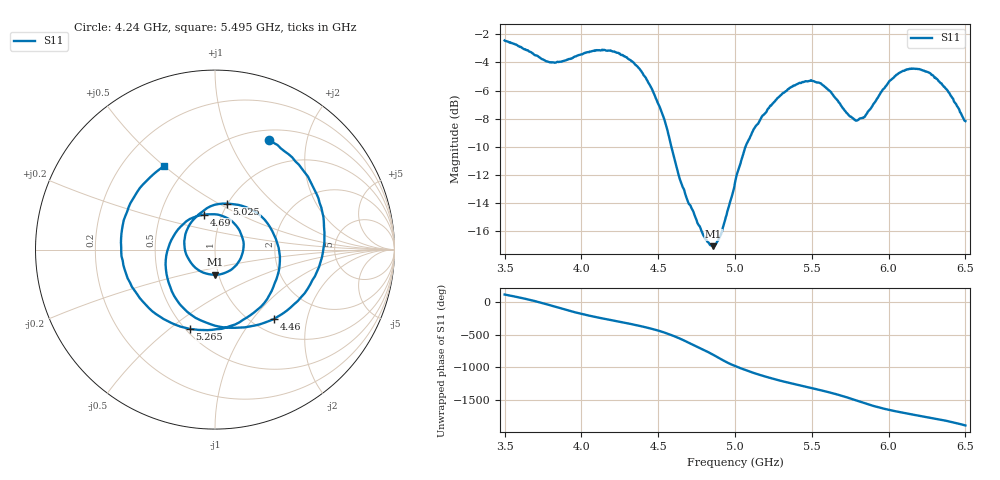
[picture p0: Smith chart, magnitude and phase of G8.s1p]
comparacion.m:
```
% Load data from the file
s = importdata('G8.s1p');

% Extract S11 and frequency data
s11 = str2double(s.textdata(7:end, 2));
freq = str2double(s.textdata(7:end, 1));

% Plot S11 vs. frequency
figure;
plot(freq, s11);  % You can use a different marker style if needed
xlabel('Frequency (Hz)');
ylabel('S11');
title('|S11|');
grid on;

%% Diagramas de radiación
% Especifica la ruta completa de los archivos .ASC
phi0485 = 'C8_04850_dBi.CAB.CortePH0.ASC';
phi0459 = 'C8_04590_dBi.CAB.CortePH0.ASC';
phi0507 = 'C8_05070_dBi.CAB.CortePH0.ASC';

% Utiliza importdata para cargar los datos
phi0485 = importdata(phi0485);
phi0459 = importdata(phi0459);
phi0507 = importdata(phi0507);

% Accede a los datos según su estructura
if isstruct(phi0485)
    % Si los datos son una estructura, puede que estén en el campo .data
    % Ajusta esto según la estructura específica de tu archivo
    matriz_datos1 = phi0485.data;
else
    % Si los datos son simplemente una matriz, úsalos directamente
    matriz_datos1 = phi0485;
end

% Accede a los datos según su estructura
if isstruct(phi0459)
    % Si los datos son una estructura, puede que estén en el campo .data
    % Ajusta esto según la estructura específica de tu archivo
    matriz_datos2 = phi0459.data;
else
    % Si los datos son simplemente una matriz, úsalos directamente
    matriz_datos2 = phi0459;
end

% Accede a los datos según su estructura
if isstruct(phi0507)
    % Si los datos son una estructura, puede que estén en el campo .data
    % Ajusta esto según la estructura específica de tu archivo
    matriz_datos3 = phi0507.data;
else
    % Si los datos son simplemente una matriz, úsalos directamente
    matriz_datos3 = phi0507;
end

% Visualizar los datos
figure;
plot(matriz_datos1(:, 1), matriz_datos1(:, 2)-max(matriz_datos1(:, 2))); 
hold on;
plot(matriz_datos1(:, 1), matriz_datos1(:, 4)-max(matriz_datos1(:, 2)));
xlabel('\theta [º]');
ylabel('Ganancia Realizada [dB]');
title('Diagrama de radiación en \phi = 0º y f = 4.85 GHz');
legend('CP','XP','Location','northeast')
grid on;
hold off;

figure;
plot(matriz_datos2(:, 1), matriz_datos2(:, 2)-max(matriz_datos2(:, 2))); 
hold on;
plot(matriz_datos2(:, 1), matriz_datos2(:, 4)-max(matriz_datos2(:, 2)));
xlabel('\theta [º]');
ylabel('Ganancia Realizada [dB]');
title('Diagrama de radiación en \phi = 0º y f = 4.59 GHz');
legend('CP','XP','Location','northeast')
grid on;
hold off;

figure;
plot(matriz_datos3(:, 1), matriz_datos3(:, 2)-max(matriz_datos3(:, 2))); 
hold on;
plot(matriz_datos3(:, 1), matriz_datos3(:, 4)-max(matriz_datos3(:, 2)));
xlabel('\theta [º]');
ylabel('Ganancia Realizada [dB]');
title('Diagrama de radiación en \phi = 0º y f = 5.07 GHz');
legend('CP','XP','Location','northeast')
grid on;
hold off;

%% Comparativa S11

% Import measured data 
s = importdata('G8.s1p');

% Extract S11 and frequency data
s11 = str2double(s.textdata(7:end, 2));
freq = str2double(s.textdata(7:end, 1));

% Import CST data
load('s11cst.mat');

% Plot S11 vs. frequency
figure;
plot(freq, s11);
hold on
plot(s11cst(:,1)*1e9,s11cst(:,2));
xlabel('Frequency (Hz)');
ylabel('S11');
title('Comparativa de |S11|');
axis([4e9 5.5e9 -30 0])
legend('S11 medido','S11 CST')
grid on;
hold off

%% Comparativa Diagramas de radiación
% Especifica la ruta completa de los archivos .ASC
phi0485 = 'C8_04850_dBi.CAB.CortePH0.ASC';


% Utiliza importdata para cargar los datos
phi0485 = importdata(phi0485);


% Cargar datos de cst
gain485=load('gain485.mat').gain485;
freq=[];
gain=[];
for i=1:length(gain485(:,1))
    freq=[freq;gain485{i,1}];
    gain=[gain;gain485{i,3}];
end
% Visualizar los datos
figure;
plot(matriz_datos1(:, 1), matriz_datos1(:, 2)); 
hold on;
plot(freq, gain);
xlabel('\theta [º]');
ylabel('Ganancia Realizada [dB]');
title('Comparación Diagrama de radiación en \phi = 0º y f = 4.85 GHz');
legend('Medido','CST','Location','northeast')
grid on;
hold off;
```
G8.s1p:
!Agilent Technologies,N5230A,MY46400865,A.07.50.13
!Agilent N5230A: A.07.50.13
!Date: Monday, December 18, 2023 15:31:19
!Correction: S11(Full 1 Port(1))
!S1P File: Measurement: S11:
# Hz S  dB  R 50
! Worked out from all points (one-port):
!   601 points, 3.5 GHz to 6.5 GHz, reference 50 ohm
!   lowest |S11| = -17.1 dB at 4.86 GHz (marker M1), VSWR 1.33, Z = 48 - j13.7 ohm
!   |S11| at or under -10 dB: 4.586 GHz to 5.068 GHz (482.7 MHz wide, 10 % of centre)
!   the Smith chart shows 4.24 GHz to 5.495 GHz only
!   S11 on the Smith chart (normalised r, x): 4.24 GHz: 0.62, +1.42; 4.46 GHz: 1.23, -1.28; 4.69 GHz: 0.83, +0.34; 5.025 GHz: 0.99, +0.55; 5.265 GHz: 0.52, -0.59; 5.495 GHz: 0.38, +0.50
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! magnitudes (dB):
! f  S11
! 3.5 GHz  -2.4
! 3.8 GHz  -4.0
! 4.24 GHz  -3.3
! 4.46 GHz  -5.9
! 4.5 GHz  -6.9
! 4.69 GHz  -13.8
! 4.86 GHz  -17.1
! 5.025 GHz  -11.5
! 5.265 GHz  -6.7
! 5.495 GHz  -5.3
! 5.5 GHz  -5.3
! 5.79 GHz  -8.1
! 6.205 GHz  -4.5
! 6.5 GHz  -8.2
